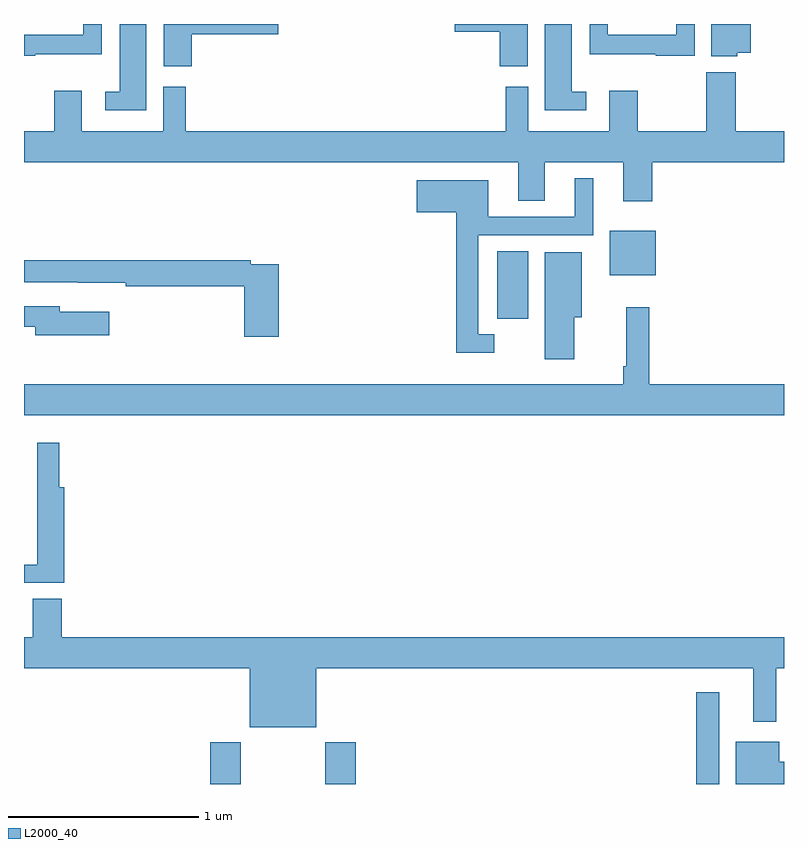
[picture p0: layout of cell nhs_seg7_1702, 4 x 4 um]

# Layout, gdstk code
import gdstk
lib = gdstk.Library(unit=1e-6, precision=1e-09)
def R(c, l, rs):  # rectangles x0, y0, x1, y1
    for r in rs: c.add(gdstk.rectangle(r[:2], r[2:], *l))
def P(c, l, *ps):  # polygons
    for p in ps: c.add(gdstk.Polygon(p, *l))
L2000_40 = (2000, 40)

nhs_seg7_1702 = lib.new_cell('nhs_seg7_1702')
R(nhs_seg7_1702, L2000_40, [(227.981,1008,228.141,1008.22), (228.586,1008,228.746,1008.22), (230.538,1008,230.659,1008.484), (229.49,1010.448,229.654,1010.804), (230.084,1010.678,230.326,1010.911)])
P(nhs_seg7_1702, L2000_40, [(227.06,1011.842),(227.409,1011.842),(227.409,1012),(227.313,1012),(227.313,1011.943),(227,1011.943),(227,1011.832),(227.06,1011.832)],
  [(230.529,1012),(230.433,1012),(230.433,1011.943),(230.073,1011.943),(230.073,1012),(229.977,1012),(229.977,1011.842),(230.326,1011.842),(230.326,1011.832),(230.529,1011.832)],
  [(227.644,1012),(227.504,1012),(227.504,1011.644),(227.427,1011.644),(227.427,1011.546),(227.644,1011.546)],
  [(229.96,1011.644),(229.882,1011.644),(229.882,1012),(229.742,1012),(229.742,1011.546),(229.96,1011.546)],
  [(227.882,1011.947),(228.337,1011.947),(228.337,1012),(227.735,1012),(227.735,1011.777),(227.882,1011.777)],
  [(230.754,1011.848),(230.824,1011.848),(230.824,1012),(230.618,1012),(230.618,1011.83),(230.754,1011.83)],
  [(229.651,1012),(229.268,1012),(229.268,1011.959),(229.505,1011.959),(229.505,1011.777),(229.651,1011.777)],
  [(230.306,1011.272),(231,1011.272),(231,1011.436),(230.745,1011.436),(230.745,1011.745),(230.59,1011.745),(230.59,1011.436),(230.229,1011.436),(230.229,1011.649),(230.081,1011.649),(230.081,1011.436),(229.654,1011.436),(229.654,1011.67),(229.536,1011.67),(229.536,1011.436),(227.851,1011.436),(227.851,1011.67),(227.732,1011.67),(227.732,1011.436),(227.305,1011.436),(227.305,1011.649),(227.158,1011.649),(227.158,1011.436),(227,1011.436),(227,1011.272),(229.601,1011.272),(229.601,1011.07),(229.741,1011.07),(229.741,1011.272),(230.153,1011.272),(230.153,1011.066),(230.306,1011.066)],
  [(229.474,1010.367),(229.392,1010.367),(229.392,1010.889),(229.996,1010.889),(229.996,1011.187),(229.898,1011.187),(229.898,1010.985),(229.444,1010.985),(229.444,1011.178),(229.068,1011.178),(229.068,1011.008),(229.276,1011.008),(229.276,1010.27),(229.474,1010.27)],
  [(229.897,1010.456),(229.936,1010.456),(229.936,1010.8),(229.742,1010.8),(229.742,1010.235),(229.897,1010.235)],
  [(228.341,1010.736),(228.194,1010.736),(228.194,1010.756),(227,1010.756),(227,1010.64),(227.284,1010.64),(227.284,1010.639),(227.536,1010.639),(227.536,1010.62),(228.158,1010.62),(228.158,1010.355),(228.341,1010.355)],
  [(227.449,1010.485),(227.188,1010.485),(227.188,1010.514),(227,1010.514),(227,1010.406),(227.06,1010.406),(227.06,1010.363),(227.449,1010.363)],
  [(231,1010.104),(230.291,1010.104),(230.291,1010.509),(230.17,1010.509),(230.17,1010.2),(230.155,1010.2),(230.155,1010.104),(227,1010.104),(227,1009.94),(231,1009.94)],
  [(227.213,1009.561),(227.186,1009.561),(227.186,1009.795),(227.07,1009.795),(227.07,1009.457),(227.069,1009.457),(227.069,1009.155),(227,1009.155),(227,1009.059),(227.213,1009.059)],
  [(228.538,1008.608),(230.837,1008.608),(230.837,1008.327),(230.959,1008.327),(230.959,1008.608),(231,1008.608),(231,1008.772),(227.198,1008.772),(227.198,1008.974),(227.045,1008.974),(227.045,1008.772),(227,1008.772),(227,1008.608),(228.188,1008.608),(228.188,1008.299),(228.538,1008.299)],
  [(231,1008.116),(230.974,1008.116),(230.974,1008.223),(230.747,1008.223),(230.747,1008),(231,1008)])

lib.write_gds('nhs_seg7_1702.gds')
